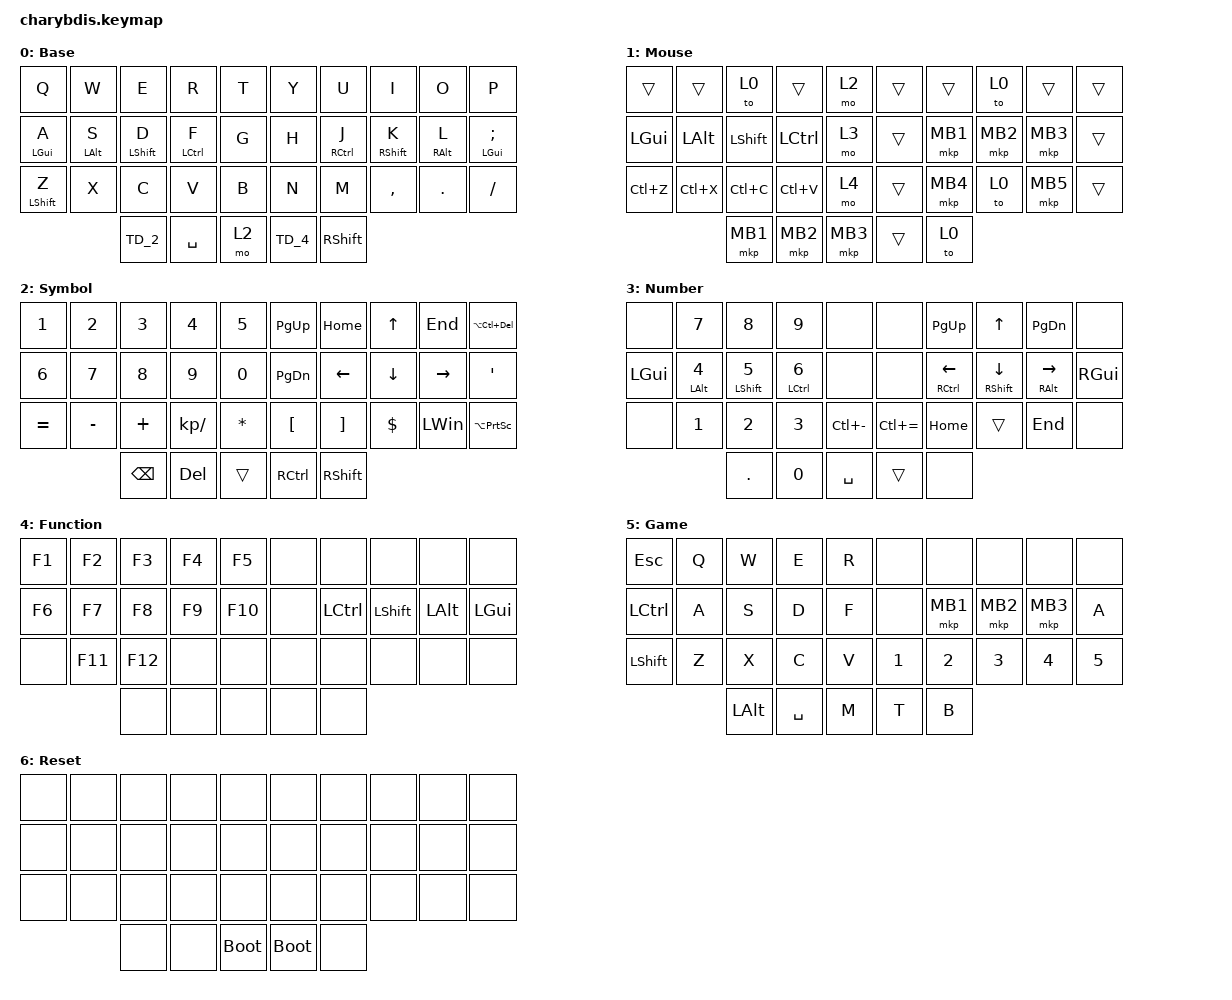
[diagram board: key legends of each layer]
#include <behaviors.dtsi>
#include <dt-bindings/zmk/keys.h>
#include <dt-bindings/zmk/pointing.h>

#define BASE 0
#define MOUSE 1
#define SYMBOL 2
#define NUMBER 3
#define FUNCTION 4
#define GAME 5
#define RESET 6
#define KEYS_L 0 1 2 3 4 10 11 12 13 14 20 21 22 23 24
#define KEYS_R 5 6 7 8 9 15 16 17 18 19 25 26 27 28 29
#define THUMBS 30 31 32 33 34 35

&sk {
    release-after-ms = <600>;
    quick-release;
};

&sl { ignore-modifiers; };

&mt { flavor = "tap-preferred"; };

&lt {
    flavor = "balanced";
    tapping-term-ms = <200>;
    quick-tap-ms = <175>;
};

&caps_word { /delete-property/ ignore-modifiers; };

/ {
    behaviors {
        hml: hml {
            compatible = "zmk,behavior-hold-tap";
            #binding-cells = <2>;
            flavor = "balanced";
            tapping-term-ms = <2000>;
            quick-tap-ms = <175>;
            require-prior-idle-ms = <250>;
            hold-trigger-key-positions = <KEYS_R THUMBS>;
            hold-trigger-on-release;
            bindings = <&kp>, <&kp>;
        };

        hmr: hmr {
            compatible = "zmk,behavior-hold-tap";
            #binding-cells = <2>;
            flavor = "balanced";
            tapping-term-ms = <2000>;
            quick-tap-ms = <175>;
            require-prior-idle-ms = <250>;
            hold-trigger-key-positions = <KEYS_L THUMBS>;
            hold-trigger-on-release;
            bindings = <&kp>, <&kp>;
        };

        hml_s: hml_s {
            compatible = "zmk,behavior-hold-tap";
            #binding-cells = <2>;
            flavor = "balanced";
            tapping-term-ms = <2000>;
            quick-tap-ms = <175>;
            require-prior-idle-ms = <0>;
            hold-trigger-key-positions = <KEYS_R THUMBS>;
            hold-trigger-on-release;
            bindings = <&kp>, <&kp>;
        };

        hmr_s: hmr_s {
            compatible = "zmk,behavior-hold-tap";
            #binding-cells = <2>;
            flavor = "balanced";
            tapping-term-ms = <2000>;
            quick-tap-ms = <175>;
            require-prior-idle-ms = <0>;
            hold-trigger-key-positions = <KEYS_L THUMBS>;
            hold-trigger-on-release;
            bindings = <&kp>, <&kp>;
        };

        smart_shift: smart_shift {
            compatible = "zmk,behavior-mod-morph";
            #binding-cells = <0>;
            bindings = <&sk LSHIFT>, <&caps_word>;

            mods = <(MOD_LSFT)>;
        };

        TD_2: TD_2 {
            compatible = "zmk,behavior-tap-dance";
            label = "TD_2";
            #binding-cells = <0>;
            bindings = <&kp LEFT_CONTROL>, <&kp LEFT_ALT>;

            tapping-term-ms = <300>;
        };

        TD_4: TD_4 {
            compatible = "zmk,behavior-tap-dance";
            label = "TD_4";
            #binding-cells = <0>;
            bindings = <&kp BACKSPACE>, <&kp DELETE>;

            tapping-term-ms = <300>;
        };
    };

    combos {
        compatible = "zmk,combos";
        timeout-ms = <20>;
        require-prior-idle-ms = <250>;

        combo_reset_layer_left {
            key-positions = <20 24>;
            bindings = <&to RESET>;
        };

        combo_reset_layer_right {
            key-positions = <25 29>;
            bindings = <&to RESET>;
        };

        combo_reset_central {
            key-positions = <32 33>;
            bindings = <&bootloader>;
            require-prior-idle-ms = <2000>;
        };

        combo_normal {
            key-positions = <7 8>;
            bindings = <&to BASE>;
        };

        combo_fn {
            key-positions = <27 28>;
            bindings = <&sl FUNCTION>;
            timeout-ms = <50>;
            require-prior-idle-ms = <10>;
            layers = <0>;
        };

        combo_esc {
            key-positions = <2 3>;
            bindings = <&kp ESCAPE>;
            timeout-ms = <50>;
            require-prior-idle-ms = <10>;
            layers = <0 1>;
        };

        combo_tab {
            key-positions = <12 13>;
            bindings = <&kp TAB>;
            timeout-ms = <50>;
            require-prior-idle-ms = <10>;
        };

        combo_cdel {
            key-positions = <11 12>;
            bindings = <&kp LC(BACKSPACE)>;
        };

        combo_unlock {
            key-positions = <0 4>;
            bindings = <&studio_unlock>;
        };

        f8 {
            bindings = <&kp F8>;
            key-positions = <2 3>;
            timeout-ms = <50>;
            require-prior-idle-ms = <10>;
            layers = <2>;
        };

        caps {
            bindings = <&kp CAPS>;
            key-positions = <10 11>;
            timeout-ms = <50>;
            require-prior-idle-ms = <10>;
        };

        dot {
            bindings = <&kp KP_DOT>;
            key-positions = <22 21>;
            timeout-ms = <50>;
            require-prior-idle-ms = <10>;
            layers = <2>;
        };

        ent {
            bindings = <&kp ENTER>;
            key-positions = <31 32>;
            timeout-ms = <50>;
            require-prior-idle-ms = <10>;
        };

        tog_0l {
            bindings = <&tog 0>;
            key-positions = <6 7>;
            timeout-ms = <50>;
            require-prior-idle-ms = <10>;
        };

        shift {
            bindings = <&kp LEFT_SHIFT>;
            key-positions = <22 23>;
            timeout-ms = <10>;
            require-prior-idle-ms = <50>;
            layers = <0>;
        };

        lay4 {
            bindings = <&mo 4>;
            key-positions = <33 34>;
        };
    };

    chosen { zmk,physical-layout = &charybdis_5col_layout; };

    keymap {
        compatible = "zmk,keymap";

        Base {
            display-name = "Base";
            bindings = <
  &kp Q             &kp W        &kp E         &kp R         &kp T    &kp Y  &kp U            &kp I         &kp O        &kp P
  &hml LGUI A       &hml LALT S  &hml LSHFT D  &hml LCTRL F  &kp G    &kp H  &hmr RCTRL J     &hmr RSHFT K  &hmr RALT L  &hmr LGUI SEMI
  &mt LEFT_SHIFT Z  &kp X        &kp C         &kp V         &kp B    &kp N  &kp M            &kp COMMA     &kp DOT      &kp FSLH
                                 &TD_2         &kp SPACE     &mo 2    &TD_4  &kp RIGHT_SHIFT
            >;
        };

        Mouse {
            display-name = "Mouse";
            bindings = <
  &trans     &trans     &to 0      &trans     &mo 2       &trans  &trans    &to 0     &trans    &trans
  &kp LGUI   &kp LALT   &kp LSHFT  &kp LCTRL  &mo 3       &trans  &mkp MB1  &mkp MB2  &mkp MB3  &trans
  &kp LC(Z)  &kp LC(X)  &kp LC(C)  &kp LC(V)  &mo 4       &trans  &mkp MB4  &to 0     &mkp MB5  &trans
                        &mkp MB1   &mkp MB2   &mkp MB3    &trans  &to 0
            >;
        };

        Sym {
            display-name = "Symbol";
            bindings = <
  &kp NUMBER_1  &kp NUMBER_2  &kp NUMBER_3   &kp NUMBER_4  &kp NUMBER_5    &kp PG_UP          &kp HOME           &kp UP_ARROW    &kp END       &kp LA(LC(DELETE))
  &kp NUMBER_6  &kp NUMBER_7  &kp NUMBER_8   &kp NUMBER_9  &kp NUMBER_0    &kp PG_DN          &kp LEFT_ARROW     &kp DOWN_ARROW  &kp RIGHT     &kp SINGLE_QUOTE
  &kp EQUAL     &kp MINUS     &kp PLUS       &kp KP_SLASH  &kp ASTERISK    &kp LEFT_BRACKET   &kp RIGHT_BRACKET  &kp DOLLAR      &kp LEFT_WIN  &kp LA(PRINTSCREEN)
                              &kp BACKSPACE  &kp DELETE    &trans          &kp RIGHT_CONTROL  &kp RIGHT_SHIFT
            >;
        };

        Num {
            display-name = "Number";
            bindings = <
  &none     &kp N7          &kp N8           &kp N9           &none            &none          &kp PG_UP          &kp UP             &kp PG_DN          &none
  &kp LGUI  &hml_s LALT N4  &hml_s LSHFT N5  &hml_s LCTRL N6  &none            &none          &hmr_s RCTRL LEFT  &hmr_s RSHFT DOWN  &hmr_s RALT RIGHT  &kp RGUI
  &none     &kp N1          &kp N2           &kp N3           &kp LC(MINUS)    &kp LC(EQUAL)  &kp HOME           &trans             &kp END            &none
                            &kp DOT          &kp N0           &kp SPACE        &trans         &none
            >;
        };

        Fun {
            display-name = "Function";
            bindings = <
  &kp F1  &kp F2   &kp F3   &kp F4  &kp F5     &none  &none      &none      &none     &none
  &kp F6  &kp F7   &kp F8   &kp F9  &kp F10    &none  &kp LCTRL  &kp LSHFT  &kp LALT  &kp LGUI
  &none   &kp F11  &kp F12  &none   &none      &none  &none      &none      &none     &none
                   &none    &none   &none      &none  &none
            >;
        };

        Button {
            display-name = "Game";
            bindings = <
  &kp ESCAPE  &kp Q  &kp W     &kp E      &kp R    &none   &none     &none     &none     &none
  &kp LCTRL   &kp A  &kp S     &kp D      &kp F    &none   &mkp MB1  &mkp MB2  &mkp MB3  &kp A
  &kp LSHIFT  &kp Z  &kp X     &kp C      &kp V    &kp N1  &kp N2    &kp N3    &kp N4    &kp N5
                     &kp LALT  &kp SPACE  &kp M    &kp T   &kp B
            >;
        };

        Reset {
            display-name = "Reset";
            bindings = <
  &none  &none  &none  &none  &none          &none        &none  &none  &none  &none
  &none  &none  &none  &none  &none          &none        &none  &none  &none  &none
  &none  &none  &none  &none  &none          &none        &none  &none  &none  &none
                &none  &none  &bootloader    &bootloader  &none
            >;
        };
    };
};
